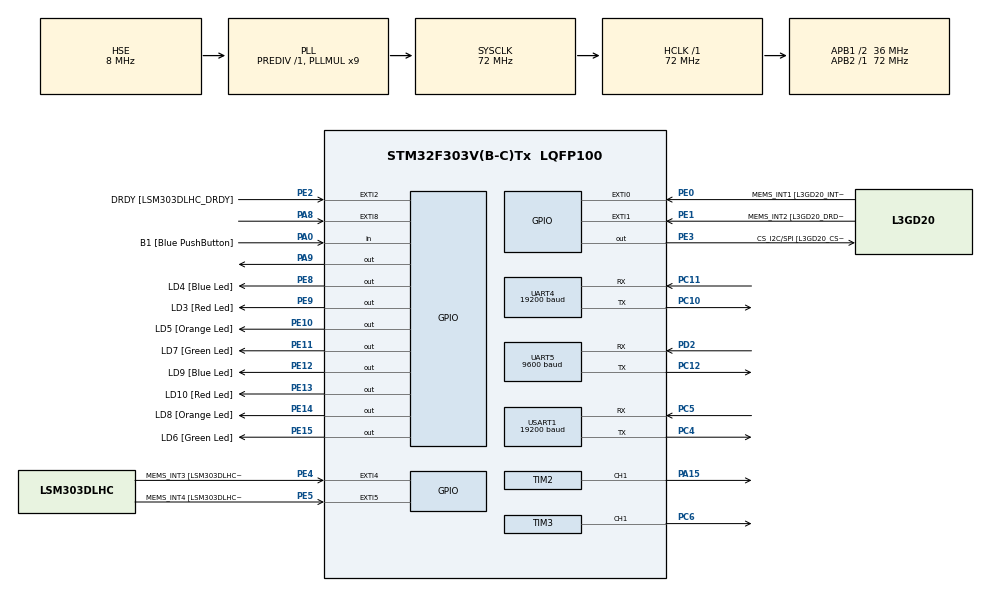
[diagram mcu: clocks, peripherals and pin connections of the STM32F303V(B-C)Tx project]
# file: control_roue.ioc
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Mcu.Family=STM32F3
Mcu.Name=STM32F303V(B-C)Tx
Mcu.Package=LQFP100
NVIC.EXTI9_5_IRQn=true\:0\:0\:true\:false\:true\:true\:true
NVIC.PriorityGroup=NVIC_PRIORITYGROUP_0
NVIC.TIM4_IRQn=true\:0\:0\:false\:false\:true\:true\:true
NVIC.UART4_IRQn=true\:0\:0\:false\:false\:true\:true\:true
NVIC.UART5_IRQn=true\:0\:0\:false\:false\:true\:true\:true
NVIC.USART1_IRQn=true\:0\:0\:false\:false\:true\:true\:true
PA0.GPIO_Label=B1 [Blue PushButton]
PA0.GPIO_Mode=GPIO_MODE_INPUT
PA0.GPIO_PuPd=GPIO_NOPULL
PA0.Signal=GPIO_Input
PA11.GPIO_Label=DM
PA11.Signal=USB_DM
PA12.GPIO_Label=DP
PA12.Signal=USB_DP
PA13.GPIO_Label=SWDIO
PA13.Mode=Trace_Asynchronous_SW
PA13.Signal=SYS_JTMS-SWDIO
PA14.GPIO_Label=SWCLK
PA14.Mode=Trace_Asynchronous_SW
PA14.Signal=SYS_JTCK-SWCLK
PA15.Signal=S_TIM2_CH1_ETR
PA5.GPIO_Label=SPI1_SCK [L3GD20_SCL/SPC]
PA5.GPIO_Mode=GPIO_MODE_AF_PP
PA5.GPIO_PuPd=GPIO_NOPULL
PA5.GPIO_Speed=GPIO_SPEED_FREQ_LOW
PA5.Signal=SPI1_SCK
PA6.GPIO_Label=SPI1_MISO [L3GD20_SA0/SDO]
PA6.GPIO_Mode=GPIO_MODE_AF_PP
PA6.GPIO_PuPd=GPIO_NOPULL
PA6.GPIO_Speed=GPIO_SPEED_FREQ_LOW
PA6.Signal=SPI1_MISO
PA7.GPIO_Label=SPI1_MISO [L3GD20_SDA/SDI/SDO]
PA7.GPIO_Mode=GPIO_MODE_AF_PP
PA7.GPIO_PuPd=GPIO_NOPULL
PA7.GPIO_Speed=GPIO_SPEED_FREQ_LOW
PA7.Signal=SPI1_MOSI
PA8.GPIO_ModeDefaultEXTI=GPIO_MODE_IT_RISING_FALLING
PA8.Signal=GPXTI8
PA9.Signal=GPIO_Output
PB3.GPIO_Label=SWO
PB3.Mode=Trace_Asynchronous_SW
PB3.Signal=SYS_JTDO-TRACESWO
PB6.GPIO_FM6=__NULL
PB6.GPIO_Label=I2C1_SCL [LSM303DLHC_SCL]
PB6.GPIO_Mode=GPIO_MODE_AF_OD
PB6.GPIO_PuPd=GPIO_NOPULL
PB6.GPIO_Speed=GPIO_SPEED_FREQ_LOW
PB6.Signal=I2C1_SCL
PB7.GPIO_FM7=__NULL
PB7.GPIO_Label=I2C1_SDA [LSM303DLHC_SDA]
PB7.GPIO_Mode=GPIO_MODE_AF_OD
PB7.GPIO_PuPd=GPIO_NOPULL
PB7.GPIO_Speed=GPIO_SPEED_FREQ_LOW
PB7.Signal=I2C1_SDA
PC10.GPIO_ModeDefaultPP=GPIO_MODE_AF_OD
PC10.Mode=Asynchronous
PC10.Signal=UART4_TX
PC11.Mode=Asynchronous
PC11.Signal=UART4_RX
PC12.Mode=Asynchronous
PC12.Signal=UART5_TX
PC14-OSC32_IN.GPIO_Label=OSC32_IN
PC14-OSC32_IN.Signal=RCC_OSC32_IN
PC15-OSC32_OUT.GPIO_Label=OSC32_OUT
PC15-OSC32_OUT.Signal=RCC_OSC32_OUT
PC4.Mode=Asynchronous
PC4.Signal=USART1_TX
PC5.Mode=Asynchronous
PC5.Signal=USART1_RX
PC6.Signal=S_TIM3_CH1
PD2.Mode=Asynchronous
PD2.Signal=UART5_RX
PE0.GPIO_Label=MEMS_INT1 [L3GD20_INT1]
PE0.GPIO_ModeDefaultEXTI=GPIO_MODE_EVT_RISING
PE0.GPIO_PuPd=GPIO_NOPULL
PE0.Signal=GPXTI0
PE1.GPIO_Label=MEMS_INT2 [L3GD20_DRDY/INT2]
PE1.GPIO_ModeDefaultEXTI=GPIO_MODE_EVT_RISING
PE1.GPIO_PuPd=GPIO_NOPULL
PE1.Signal=GPXTI1
PE10.GPIO_Label=LD5 [Orange Led]
PE10.GPIO_ModeDefaultOutputPP=GPIO_MODE_OUTPUT_PP
PE10.GPIO_PuPd=GPIO_NOPULL
PE10.GPIO_Speed=GPIO_SPEED_FREQ_LOW
PE10.Signal=GPIO_Output
PE11.GPIO_Label=LD7 [Green Led]
PE11.GPIO_ModeDefaultOutputPP=GPIO_MODE_OUTPUT_PP
PE11.GPIO_PuPd=GPIO_NOPULL
PE11.GPIO_Speed=GPIO_SPEED_FREQ_LOW
PE11.Signal=GPIO_Output
PE12.GPIO_Label=LD9 [Blue Led]
PE12.GPIO_ModeDefaultOutputPP=GPIO_MODE_OUTPUT_PP
PE12.GPIO_PuPd=GPIO_NOPULL
PE12.GPIO_Speed=GPIO_SPEED_FREQ_LOW
PE12.Signal=GPIO_Output
PE13.GPIO_Label=LD10 [Red Led]
PE13.GPIO_ModeDefaultOutputPP=GPIO_MODE_OUTPUT_PP
PE13.GPIO_PuPd=GPIO_NOPULL
PE13.GPIO_Speed=GPIO_SPEED_FREQ_LOW
PE13.Signal=GPIO_Output
PE14.GPIO_Label=LD8 [Orange Led]
PE14.GPIO_ModeDefaultOutputPP=GPIO_MODE_OUTPUT_PP
PE14.GPIO_PuPd=GPIO_NOPULL
PE14.GPIO_Speed=GPIO_SPEED_FREQ_LOW
PE14.Signal=GPIO_Output
PE15.GPIO_Label=LD6 [Green Led]
PE15.GPIO_ModeDefaultOutputPP=GPIO_MODE_OUTPUT_PP
PE15.GPIO_PuPd=GPIO_NOPULL
PE15.GPIO_Speed=GPIO_SPEED_FREQ_LOW
PE15.Signal=GPIO_Output
PE2.GPIO_Label=DRDY [LSM303DLHC_DRDY]
PE2.GPIO_ModeDefaultEXTI=GPIO_MODE_EVT_RISING
PE2.GPIO_PuPd=GPIO_NOPULL
PE2.Signal=GPXTI2
PE3.GPIO_Label=CS_I2C/SPI [L3GD20_CS_I2C/SPI]
PE3.GPIO_ModeDefaultOutputPP=GPIO_MODE_OUTPUT_PP
PE3.GPIO_PuPd=GPIO_NOPULL
PE3.GPIO_Speed=GPIO_SPEED_FREQ_LOW
PE3.Signal=GPIO_Output
PE4.GPIO_Label=MEMS_INT3 [LSM303DLHC_INT1]
PE4.GPIO_ModeDefaultEXTI=GPIO_MODE_EVT_RISING
PE4.GPIO_PuPd=GPIO_NOPULL
PE4.Signal=GPXTI4
PE5.GPIO_Label=MEMS_INT4 [LSM303DLHC_INT2]
PE5.GPIO_ModeDefaultEXTI=GPIO_MODE_EVT_RISING
PE5.GPIO_PuPd=GPIO_NOPULL
PE5.Signal=GPXTI5
PE8.GPIO_Label=LD4 [Blue Led]
PE8.GPIO_ModeDefaultOutputPP=GPIO_MODE_OUTPUT_PP
PE8.GPIO_PuPd=GPIO_NOPULL
PE8.GPIO_Speed=GPIO_SPEED_FREQ_LOW
PE8.Signal=GPIO_Output
PE9.GPIO_Label=LD3 [Red Led]
PE9.GPIO_ModeDefaultOutputPP=GPIO_MODE_OUTPUT_PP
PE9.GPIO_PuPd=GPIO_NOPULL
PE9.GPIO_Speed=GPIO_SPEED_FREQ_LOW
PE9.Signal=GPIO_Output
PF0-OSC_IN.GPIO_Label=OSC_IN
PF0-OSC_IN.Mode=HSE-External-Oscillator
PF0-OSC_IN.Signal=RCC_OSC_IN
PF1-OSC_OUT.GPIO_Label=OSC_OUT
PF1-OSC_OUT.Mode=HSE-External-Oscillator
PF1-OSC_OUT.Signal=RCC_OSC_OUT
ProjectManager.HeapSize=0x200
ProjectManager.StackSize=0x400
ProjectManager.TargetToolchain=STM32CubeIDE
RCC.AHBFreq_Value=72000000
RCC.APB1CLKDivider=RCC_HCLK_DIV2
RCC.APB1Freq_Value=36000000
RCC.APB1TimFreq_Value=72000000
RCC.APB2Freq_Value=72000000
RCC.APB2TimFreq_Value=72000000
RCC.CortexFreq_Value=72000000
RCC.HCLKFreq_Value=72000000
RCC.HSE_VALUE=8000000
RCC.HSI_VALUE=8000000
RCC.LSE_VALUE=32768
RCC.PLLMUL=RCC_PLL_MUL9
RCC.PLLSourceVirtual=RCC_PLLSOURCE_HSE
RCC.SYSCLKFreq_VALUE=72000000
RCC.SYSCLKSourceVirtual=RCC_SYSCLKSOURCE_PLLCLK
RCC.USBFreq_Value=72000000
SH.S_TIM2_CH1_ETR.0=TIM2_CH1,PWM Generation1 CH1
SH.S_TIM3_CH1.0=TIM3_CH1,PWM Generation1 CH1
TIM1.Prescaler=71
TIM2.Channel-PWM\ Generation1\ CH1=TIM_CHANNEL_1
TIM2.Period=20000
TIM2.Prescaler=72-1
TIM3.Channel-PWM\ Generation1\ CH1=TIM_CHANNEL_1
TIM3.Period=999
TIM3.Prescaler=71
TIM4.Period=65535
TIM4.Prescaler=72-1
UART4.BaudRate=19200
UART4.OverrunDisableParam=UART_ADVFEATURE_OVERRUN_DISABLE
UART5.BaudRate=9600
UART5.OverrunDisableParam=UART_ADVFEATURE_OVERRUN_DISABLE
USART1.BaudRate=19200
USART1.OverrunDisableParam=ADVFEATURE_OVERRUN_DISABLE
USART1.VirtualMode-Asynchronous=VM_ASYNC
VP_TIM1_VS_ClockSourceINT.Mode=Internal
VP_TIM2_VS_ClockSourceINT.Mode=Internal
VP_TIM3_VS_ClockSourceINT.Mode=Internal
VP_TIM4_VS_ClockSourceINT.Mode=Internal
board=STM32F3DISCOVERY

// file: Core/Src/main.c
/* USER CODE BEGIN Header */
/**
  ******************************************************************************
  * @file           : main.c
  * @brief          : Main program body
  ******************************************************************************
  * @attention
  *
  * <h2><center>&copy; Copyright (c) 2022 STMicroelectronics.
  * All rights reserved.</center></h2>
  *
  * This software component is licensed by ST under BSD 3-Clause license,
  * the "License"; You may not use this file except in compliance with the
  * License. You may obtain a copy of the License at:
  *                        opensource.org/licenses/BSD-3-Clause
  *
  ******************************************************************************
  */
/* USER CODE END Header */
#include "main.h"

/* USER CODE BEGIN Includes */
#include <string.h>
#include <stdio.h>
#include <math.h>
/* USER CODE END Includes */

TIM_HandleTypeDef htim1;
TIM_HandleTypeDef htim2;
TIM_HandleTypeDef htim3;
TIM_HandleTypeDef htim4;

UART_HandleTypeDef huart4;
UART_HandleTypeDef huart5;
UART_HandleTypeDef huart1;

/* USER CODE BEGIN PV */
#define TRIG_PIN GPIO_PIN_9
#define TRIG_PORT GPIOA
#define ECHO_PIN GPIO_PIN_8
#define ECHO_PORT GPIOA
uint32_t pMillis;
uint32_t Value1 = 0;
uint32_t Value2 = 0;
volatile uint32_t toneVal = 0;

uint16_t Distance  = 40;  // cm
uint16_t compteur_dis = 0;
uint16_t moyenne_distance = 40;
uint16_t som = 0;

uint8_t Receive_IHM[20];
uint8_t Receive_reel[20];
uint8_t Receive_hash[20];
uint8_t Receive_IHM2[8];
uint8_t Receive_IHM3[20];
uint8_t Receive_reel2[20];
uint8_t Receive_reel3[20];
uint8_t Receive_rayon[20];
uint8_t moy_distance[10];
char param[8];

int regard_droite;
int regard_gauche;
uint16_t Distance_obstacle_gauche  = 0;
uint16_t Distance_obstacle_droite  = 0;

int taille;
int test;
int start = 0;
int i=0;
int servo=0;
int detect=0;
int obstacle_detecte=0;

/* USER CODE END PV */

void SystemClock_Config(void);
static void MX_GPIO_Init(void);
static void MX_UART4_Init(void);
static void MX_TIM2_Init(void);
static void MX_TIM1_Init(void);
static void MX_UART5_Init(void);
static void MX_TIM4_Init(void);
static void MX_TIM3_Init(void);
static void MX_USART1_UART_Init(void);

/* USER CODE BEGIN 0 */

void HAL_GPIO_EXTI_Callback( uint16_t GPIO_Pin)
{

	if (GPIO_Pin == GPIO_PIN_8){
		if((HAL_GPIO_ReadPin (ECHO_PORT, ECHO_PIN))){

			Value1 = __HAL_TIM_GET_COUNTER (&htim1);
		}
		if (!(HAL_GPIO_ReadPin (ECHO_PORT, ECHO_PIN))){
			Value2 = __HAL_TIM_GET_COUNTER (&htim1);

			Distance = (Value2-Value1)* 0.034/2;

			if (detect == 0){
			detect = 1;
			}
		}
	}
}

void slice_str(const char * str, char * buffer, size_t start, size_t end)
{
    size_t j = 0;
    for ( size_t i = start; i <= end; ++i ) {
        buffer[j++] = str[i];
    }
    buffer[j] = 0;
}

void HAL_UART_RxCpltCallback(UART_HandleTypeDef *huart){
	if (obstacle_detecte == 0){
		if (start ==1){
			if (strlen((char *)Receive_IHM2)!=0){
				if (strncmp((char *) Receive_IHM2,"F@",1)==0){
							strcpy((char *)Receive_reel2,"mogo 1:5 2:5\r");
						}
				if (strncmp((char *) Receive_IHM2,"S@",1)==0){
							strcpy((char *)Receive_reel2,"stop\r");
						}
				if (strncmp((char *) Receive_IHM2,"R@",1)==0){
							strcpy((char *)Receive_reel2,"mogo 1:10 2:0\r");
						}
				if (strncmp((char *) Receive_IHM2,"L@",1)==0){
							strcpy((char *)Receive_reel2,"mogo 2:10 1:0\r");
						}

				if ((strncmp((char *) Receive_IHM2,"L@",1)!=0) && (strncmp((char *) Receive_IHM2,"S@",1)!=0)  && (strncmp((char *) Receive_IHM2,"R@",1)!=0)  && (strncmp((char *) Receive_IHM2,"F@",1)!=0 )){
					strcpy((char *)Receive_hash,(char *)Receive_IHM2);
					HAL_UART_Transmit(&huart4,Receive_hash,strlen((char *)Receive_hash),100);// Sending in normal mode

				}

				HAL_UART_Transmit(&huart4,Receive_reel2,strlen((char *)Receive_reel2),100);// Sending in normal mode
				HAL_UART_Receive_IT(&huart5, Receive_IHM2, 8);// Sending in normal mode
			}
		}
    if (start ==0){
      if (strlen((char *)Receive_IHM3)!=0){
        uint8_t resTransmit[] = "command false";
        if (strncmp((char *) Receive_IHM3,"start@",5)==0){
          uint8_t resTransmit[] = "article#c366ef9e";
          strcpy((char *)Receive_reel3,(char *)resTransmit);
          start = 1;
          HAL_UART_Transmit(&huart1,Receive_reel3,strlen((char *)Receive_reel3),100);// Sending in normal mode
          HAL_UART_Receive_IT(&huart1, Receive_IHM3, 20);// Sending in normal mode

        }
      }
    }
	}
	if (obstacle_detecte==2){
		if (strlen((char *)Receive_IHM2)!=0){
			if (strcmp((char *) Receive_IHM2,"S")==0){
				strcpy((char *)Receive_reel2,"mogo 1:10 2:-10\r");
			}
			obstacle_detecte = 0 ;

			HAL_UART_Transmit(&huart4,Receive_reel2,strlen((char *)Receive_reel2),100);// Sending in normal mode
			HAL_UART_Receive_IT(&huart5, Receive_IHM2, 8);// Sending in normal mode
	  }
  }
}

void HAL_TIM_PeriodElapsedCallback(TIM_HandleTypeDef* htim)
{
	HAL_GPIO_WritePin(TRIG_PORT, TRIG_PIN, GPIO_PIN_SET);  // pull the TRIG pin HIGH
	__HAL_TIM_SET_COUNTER(&htim1, 0);
	while (__HAL_TIM_GET_COUNTER (&htim1) < 10);  // wait for 10 us
	HAL_GPIO_WritePin(TRIG_PORT, TRIG_PIN, GPIO_PIN_RESET);  // pull the TRIG pin low

}

void alarme(void){

	for (float i=0.000; i<=100; i+=0.03) {
		 toneVal = (uint32_t) (999 + ( 60 * sin (0.3 * i)));
		 htim3.Instance->CCR1 = toneVal;
		 HAL_Delay(1);
	 }
	htim3.Instance->CCR1 =0;

}

void servomoteur(void){

		htim2.Instance->CCR1=500;
		HAL_Delay(1500);
		/*appelle fonction distance pour calculer la distance*/
		Distance_obstacle_gauche=Distance;

		/*htim2.Instance->CCR1=1500;
		HAL_Delay(2000);*/
		htim2.Instance->CCR1=2500;
		HAL_Delay(1500);
		/*appelle fonction distance pour calculer la distance*/
		Distance_obstacle_droite=Distance;

}

void contournement(void){

	if (Distance_obstacle_gauche < Distance_obstacle_droite ){
		uint8_t rotation_G[] = "digo 2:1000:10\r"; //Data to send
		HAL_UART_Transmit(&huart4,rotation_G,strlen((char *)rotation_G),500);// Sending in normal mode

		htim2.Instance->CCR1=500;
		HAL_Delay(3000);

		while (Distance<35){
			uint8_t tout_droit[] = "mogo 1:10 2:10\r"; //Data to send
			HAL_UART_Transmit(&huart4,tout_droit,strlen((char *)tout_droit),100);// Sending in normal mode
		}
		HAL_Delay(100);
		uint8_t test2[] = "stop\r"; //Data to send
		HAL_UART_Transmit(&huart4,test2,strlen((char *)test2),100);// Sending in normal mode
		HAL_Delay(100);

		uint8_t rotation_d[] = "digo 1:1000:10\r"; //Data to send
		HAL_UART_Transmit(&huart4,rotation_d,strlen((char *)rotation_d),100);// Sending in normal mode
		HAL_Delay(3000);
		uint8_t tout_droit[] = "mogo 1:10 2:10\r"; //Data to send
		HAL_UART_Transmit(&huart4,tout_droit,strlen((char *)tout_droit),100);// Sending in normal mode
		HAL_Delay(1000);

		while (Distance<35){
			uint8_t tout_droit[] = "mogo 1:10 2:10\r"; //Data to send
			HAL_UART_Transmit(&huart4,tout_droit,strlen((char *)tout_droit),100);// Sending in normal mode
		}
		HAL_Delay(100);

		uint8_t test3[] = "stop\r"; //Data to send
		HAL_UART_Transmit(&huart4,test3,strlen((char *)test3),100);// Sending in normal mode
		HAL_Delay(100);

		uint8_t rotation_d2[] = "digo 1:1000:10\r"; //Data to send
		HAL_UART_Transmit(&huart4,rotation_d2,strlen((char *)rotation_d2),100);// Sending in normal mode
		HAL_Delay(3000);
		obstacle_detecte=2;
		uint8_t tout_droit2[] = "mogo 1:5 2:5\r"; //Data to send
		HAL_UART_Transmit(&huart4,tout_droit2,strlen((char *)tout_droit2),100);// Sending in normal mode
		htim2.Instance->CCR1=1500;

		return ;

	}
	if (Distance_obstacle_droite < Distance_obstacle_gauche ){
		uint8_t rotation_G[] = "digo 1:1000:10\r"; //Data to send
				HAL_UART_Transmit(&huart4,rotation_G,strlen((char *)rotation_G),500);// Sending in normal mode

				htim2.Instance->CCR1=500;
				HAL_Delay(3000);
		while (Distance<35){
			uint8_t tout_droit[] = "mogo 1:10 2:10\r"; //Data to send
			HAL_UART_Transmit(&huart4,tout_droit,strlen((char *)tout_droit),100);// Sending in normal mode
		}

		HAL_Delay(100);
		uint8_t test4[] = "stop\r"; //Data to send
		HAL_UART_Transmit(&huart4,test4,strlen((char *)test4),100);// Sending in normal mode
		HAL_Delay(100);

		uint8_t rotation_d[] = "digo 2:1000:10\r"; //Data to send
		HAL_UART_Transmit(&huart4,rotation_d,strlen((char *)rotation_d),100);// Sending in normal mode
		HAL_Delay(3000);
		uint8_t tout_droit1[] = "mogo 1:10 2:10\r"; //Data to send
		HAL_UART_Transmit(&huart4,tout_droit1,strlen((char *)tout_droit1),100);// Sending in normal mode
		HAL_Delay(1000);

		while (Distance<35){
			uint8_t tout_droit[] = "mogo 1:10 2:10\r"; //Data to send
			HAL_UART_Transmit(&huart4,tout_droit,strlen((char *)tout_droit),100);// Sending in normal mode
		}
		HAL_Delay(100);
		uint8_t test5[] = "stop\r"; //Data to send
		HAL_UART_Transmit(&huart4,test5,strlen((char *)test5),100);// Sending in normal mode
		HAL_Delay(100);

		uint8_t rotation_d2[] = "digo 2:1000:10\r"; //Data to send
		HAL_UART_Transmit(&huart4,rotation_d2,strlen((char *)rotation_d2),100);// Sending in normal mode
		HAL_Delay(3000);

		obstacle_detecte=2;
		HAL_Delay(100);
		uint8_t tout_droit4[] = "mogo 1:5 2:5\r"; //Data to send
		HAL_UART_Transmit(&huart4,tout_droit4,strlen((char *)tout_droit4),100);// Sending in normal mode
		HAL_Delay(100);
		htim2.Instance->CCR1=1500;
		return ;
	}
}

/* USER CODE END 0 */

int main(void)
{

  /* MCU Configuration--------------------------------------------------------*/

  /* Reset of all peripherals, Initializes the Flash interface and the Systick. */
  HAL_Init();

  /* Configure the system clock */
  SystemClock_Config();

  /* Initialize all configured peripherals */
  MX_GPIO_Init();
  MX_UART4_Init();
  MX_TIM2_Init();
  MX_TIM1_Init();
  MX_UART5_Init();
  MX_TIM4_Init();
  MX_TIM3_Init();
  MX_USART1_UART_Init();
  /* USER CODE BEGIN 2 */
  HAL_TIM_PWM_Start(&htim2,TIM_CHANNEL_1);
  HAL_TIM_PWM_Start(&htim3,TIM_CHANNEL_1);
  HAL_TIM_Base_Start(&htim1);

  HAL_GPIO_WritePin(TRIG_PORT, TRIG_PIN, GPIO_PIN_RESET);  // pull the TRIG pin low
  HAL_TIM_Base_Start_IT(&htim4);
  /* USER CODE END 2 */

  /* Infinite loop */
  /* USER CODE BEGIN WHILE */
  HAL_UART_Receive_IT(&huart4, Receive_IHM, 20);
  HAL_UART_Receive_IT(&huart5, Receive_IHM2, 8);
  HAL_UART_Receive_IT(&huart1, Receive_IHM3, 20);
 /* htim2.Instance->CCR1=1500;*/

   while (1)
	  {

	 /*  HAL_Delay(500);*/

		if (Distance <35){
			obstacle_detecte = 1;
			HAL_Delay(100);
			uint8_t Test[] = "stop\r"; //Data to send
			HAL_UART_Transmit(&huart4,Test,strlen((char *)Test),100);// Sending in normal mode
			HAL_Delay(100);
			alarme();

		   if ((Distance <35) && (detect == 1)){
				//   obstacle_detecte = 1;
					detect = 2;
					servomoteur();
					contournement();
			   }
		}
		obstacle_detecte = 0;

    /* USER CODE END WHILE */

  }
}

void SystemClock_Config(void)
{
  RCC_OscInitTypeDef RCC_OscInitStruct = {0};
  RCC_ClkInitTypeDef RCC_ClkInitStruct = {0};
  RCC_PeriphCLKInitTypeDef PeriphClkInit = {0};

  /** Initializes the RCC Oscillators according to the specified parameters
  * in the RCC_OscInitTypeDef structure.
  */
  RCC_OscInitStruct.OscillatorType = RCC_OSCILLATORTYPE_HSE;
  RCC_OscInitStruct.HSEState = RCC_HSE_ON;
  RCC_OscInitStruct.HSEPredivValue = RCC_HSE_PREDIV_DIV1;
  RCC_OscInitStruct.HSIState = RCC_HSI_ON;
  RCC_OscInitStruct.PLL.PLLState = RCC_PLL_ON;
  RCC_OscInitStruct.PLL.PLLSource = RCC_PLLSOURCE_HSE;
  RCC_OscInitStruct.PLL.PLLMUL = RCC_PLL_MUL9;
  if (HAL_RCC_OscConfig(&RCC_OscInitStruct) != HAL_OK)
  {
    Error_Handler();
  }
  /** Initializes the CPU, AHB and APB buses clocks
  */
  RCC_ClkInitStruct.ClockType = RCC_CLOCKTYPE_HCLK|RCC_CLOCKTYPE_SYSCLK
                              |RCC_CLOCKTYPE_PCLK1|RCC_CLOCKTYPE_PCLK2;
  RCC_ClkInitStruct.SYSCLKSource = RCC_SYSCLKSOURCE_PLLCLK;
  RCC_ClkInitStruct.AHBCLKDivider = RCC_SYSCLK_DIV1;
  RCC_ClkInitStruct.APB1CLKDivider = RCC_HCLK_DIV2;
  RCC_ClkInitStruct.APB2CLKDivider = RCC_HCLK_DIV1;

  if (HAL_RCC_ClockConfig(&RCC_ClkInitStruct, FLASH_LATENCY_2) != HAL_OK)
  {
    Error_Handler();
  }
  PeriphClkInit.PeriphClockSelection = RCC_PERIPHCLK_USART1|RCC_PERIPHCLK_UART4
                              |RCC_PERIPHCLK_UART5|RCC_PERIPHCLK_TIM1;
  PeriphClkInit.Usart1ClockSelection = RCC_USART1CLKSOURCE_PCLK2;
  PeriphClkInit.Uart4ClockSelection = RCC_UART4CLKSOURCE_PCLK1;
  PeriphClkInit.Uart5ClockSelection = RCC_UART5CLKSOURCE_PCLK1;
  PeriphClkInit.Tim1ClockSelection = RCC_TIM1CLK_HCLK;
  if (HAL_RCCEx_PeriphCLKConfig(&PeriphClkInit) != HAL_OK)
  {
    Error_Handler();
  }
}

static void MX_TIM1_Init(void)
{

  TIM_ClockConfigTypeDef sClockSourceConfig = {0};
  TIM_MasterConfigTypeDef sMasterConfig = {0};

  htim1.Instance = TIM1;
  htim1.Init.Prescaler = 71;
  htim1.Init.CounterMode = TIM_COUNTERMODE_UP;
  htim1.Init.Period = 65535;
  htim1.Init.ClockDivision = TIM_CLOCKDIVISION_DIV1;
  htim1.Init.RepetitionCounter = 0;
  htim1.Init.AutoReloadPreload = TIM_AUTORELOAD_PRELOAD_DISABLE;
  if (HAL_TIM_Base_Init(&htim1) != HAL_OK)
  {
    Error_Handler();
  }
  sClockSourceConfig.ClockSource = TIM_CLOCKSOURCE_INTERNAL;
  if (HAL_TIM_ConfigClockSource(&htim1, &sClockSourceConfig) != HAL_OK)
  {
    Error_Handler();
  }
  sMasterConfig.MasterOutputTrigger = TIM_TRGO_RESET;
  sMasterConfig.MasterOutputTrigger2 = TIM_TRGO2_RESET;
  sMasterConfig.MasterSlaveMode = TIM_MASTERSLAVEMODE_DISABLE;
  if (HAL_TIMEx_MasterConfigSynchronization(&htim1, &sMasterConfig) != HAL_OK)
  {
    Error_Handler();
  }

}

static void MX_TIM2_Init(void)
{

  TIM_ClockConfigTypeDef sClockSourceConfig = {0};
  TIM_MasterConfigTypeDef sMasterConfig = {0};
  TIM_OC_InitTypeDef sConfigOC = {0};

  htim2.Instance = TIM2;
  htim2.Init.Prescaler = 72-1;
  htim2.Init.CounterMode = TIM_COUNTERMODE_UP;
  htim2.Init.Period = 20000;
  htim2.Init.ClockDivision = TIM_CLOCKDIVISION_DIV1;
  htim2.Init.AutoReloadPreload = TIM_AUTORELOAD_PRELOAD_DISABLE;
  if (HAL_TIM_Base_Init(&htim2) != HAL_OK)
  {
    Error_Handler();
  }
  sClockSourceConfig.ClockSource = TIM_CLOCKSOURCE_INTERNAL;
  if (HAL_TIM_ConfigClockSource(&htim2, &sClockSourceConfig) != HAL_OK)
  {
    Error_Handler();
  }
  if (HAL_TIM_PWM_Init(&htim2) != HAL_OK)
  {
    Error_Handler();
  }
  sMasterConfig.MasterOutputTrigger = TIM_TRGO_RESET;
  sMasterConfig.MasterSlaveMode = TIM_MASTERSLAVEMODE_DISABLE;
  if (HAL_TIMEx_MasterConfigSynchronization(&htim2, &sMasterConfig) != HAL_OK)
  {
    Error_Handler();
  }
  sConfigOC.OCMode = TIM_OCMODE_PWM1;
  sConfigOC.Pulse = 0;
  sConfigOC.OCPolarity = TIM_OCPOLARITY_HIGH;
  sConfigOC.OCFastMode = TIM_OCFAST_DISABLE;
  if (HAL_TIM_PWM_ConfigChannel(&htim2, &sConfigOC, TIM_CHANNEL_1) != HAL_OK)
  {
    Error_Handler();
  }
  HAL_TIM_MspPostInit(&htim2);

}

static void MX_TIM3_Init(void)
{

  TIM_ClockConfigTypeDef sClockSourceConfig = {0};
  TIM_MasterConfigTypeDef sMasterConfig = {0};
  TIM_OC_InitTypeDef sConfigOC = {0};

  htim3.Instance = TIM3;
  htim3.Init.Prescaler = 71;
  htim3.Init.CounterMode = TIM_COUNTERMODE_UP;
  htim3.Init.Period = 999;
  htim3.Init.ClockDivision = TIM_CLOCKDIVISION_DIV1;
  htim3.Init.AutoReloadPreload = TIM_AUTORELOAD_PRELOAD_DISABLE;
  if (HAL_TIM_Base_Init(&htim3) != HAL_OK)
  {
    Error_Handler();
  }
  sClockSourceConfig.ClockSource = TIM_CLOCKSOURCE_INTERNAL;
  if (HAL_TIM_ConfigClockSource(&htim3, &sClockSourceConfig) != HAL_OK)
  {
    Error_Handler();
  }
  if (HAL_TIM_PWM_Init(&htim3) != HAL_OK)
  {
    Error_Handler();
  }
  sMasterConfig.MasterOutputTrigger = TIM_TRGO_RESET;
  sMasterConfig.MasterSlaveMode = TIM_MASTERSLAVEMODE_DISABLE;
  if (HAL_TIMEx_MasterConfigSynchronization(&htim3, &sMasterConfig) != HAL_OK)
  {
    Error_Handler();
  }
  sConfigOC.OCMode = TIM_OCMODE_PWM1;
  sConfigOC.Pulse = 0;
  sConfigOC.OCPolarity = TIM_OCPOLARITY_HIGH;
  sConfigOC.OCFastMode = TIM_OCFAST_DISABLE;
  if (HAL_TIM_PWM_ConfigChannel(&htim3, &sConfigOC, TIM_CHANNEL_1) != HAL_OK)
  {
    Error_Handler();
  }
  HAL_TIM_MspPostInit(&htim3);

}

static void MX_TIM4_Init(void)
{

  TIM_ClockConfigTypeDef sClockSourceConfig = {0};
  TIM_MasterConfigTypeDef sMasterConfig = {0};

  htim4.Instance = TIM4;
  htim4.Init.Prescaler = 72-1;
  htim4.Init.CounterMode = TIM_COUNTERMODE_UP;
  htim4.Init.Period = 65535;
  htim4.Init.ClockDivision = TIM_CLOCKDIVISION_DIV1;
  htim4.Init.AutoReloadPreload = TIM_AUTORELOAD_PRELOAD_DISABLE;
  if (HAL_TIM_Base_Init(&htim4) != HAL_OK)
  {
    Error_Handler();
  }
  sClockSourceConfig.ClockSource = TIM_CLOCKSOURCE_INTERNAL;
  if (HAL_TIM_ConfigClockSource(&htim4, &sClockSourceConfig) != HAL_OK)
  {
    Error_Handler();
  }
  sMasterConfig.MasterOutputTrigger = TIM_TRGO_RESET;
  sMasterConfig.MasterSlaveMode = TIM_MASTERSLAVEMODE_DISABLE;
  if (HAL_TIMEx_MasterConfigSynchronization(&htim4, &sMasterConfig) != HAL_OK)
  {
    Error_Handler();
  }

}

static void MX_UART4_Init(void)
{

  huart4.Instance = UART4;
  huart4.Init.BaudRate = 19200;
  huart4.Init.WordLength = UART_WORDLENGTH_8B;
  huart4.Init.StopBits = UART_STOPBITS_1;
  huart4.Init.Parity = UART_PARITY_NONE;
  huart4.Init.Mode = UART_MODE_TX_RX;
  huart4.Init.HwFlowCtl = UART_HWCONTROL_NONE;
  huart4.Init.OverSampling = UART_OVERSAMPLING_16;
  huart4.Init.OneBitSampling = UART_ONE_BIT_SAMPLE_DISABLE;
  huart4.AdvancedInit.AdvFeatureInit = UART_ADVFEATURE_RXOVERRUNDISABLE_INIT;
  huart4.AdvancedInit.OverrunDisable = UART_ADVFEATURE_OVERRUN_DISABLE;
  if (HAL_UART_Init(&huart4) != HAL_OK)
  {
    Error_Handler();
  }

}

static void MX_UART5_Init(void)
{

  huart5.Instance = UART5;
  huart5.Init.BaudRate = 9600;
  huart5.Init.WordLength = UART_WORDLENGTH_8B;
  huart5.Init.StopBits = UART_STOPBITS_1;
  huart5.Init.Parity = UART_PARITY_NONE;
  huart5.Init.Mode = UART_MODE_TX_RX;
  huart5.Init.HwFlowCtl = UART_HWCONTROL_NONE;
  huart5.Init.OverSampling = UART_OVERSAMPLING_16;
  huart5.Init.OneBitSampling = UART_ONE_BIT_SAMPLE_DISABLE;
  huart5.AdvancedInit.AdvFeatureInit = UART_ADVFEATURE_RXOVERRUNDISABLE_INIT;
  huart5.AdvancedInit.OverrunDisable = UART_ADVFEATURE_OVERRUN_DISABLE;
  if (HAL_UART_Init(&huart5) != HAL_OK)
  {
    Error_Handler();
  }

}

static void MX_USART1_UART_Init(void)
{

  huart1.Instance = USART1;
  huart1.Init.BaudRate = 19200;
  huart1.Init.WordLength = UART_WORDLENGTH_8B;
  huart1.Init.StopBits = UART_STOPBITS_1;
  huart1.Init.Parity = UART_PARITY_NONE;
  huart1.Init.Mode = UART_MODE_TX_RX;
  huart1.Init.HwFlowCtl = UART_HWCONTROL_NONE;
  huart1.Init.OverSampling = UART_OVERSAMPLING_16;
  huart1.Init.OneBitSampling = UART_ONE_BIT_SAMPLE_DISABLE;
  huart1.AdvancedInit.AdvFeatureInit = UART_ADVFEATURE_RXOVERRUNDISABLE_INIT;
  huart1.AdvancedInit.OverrunDisable = UART_ADVFEATURE_OVERRUN_DISABLE;
  if (HAL_UART_Init(&huart1) != HAL_OK)
  {
    Error_Handler();
  }

}

static void MX_GPIO_Init(void)
{
  GPIO_InitTypeDef GPIO_InitStruct = {0};

  /* GPIO Ports Clock Enable */
  __HAL_RCC_GPIOE_CLK_ENABLE();
  __HAL_RCC_GPIOC_CLK_ENABLE();
  __HAL_RCC_GPIOF_CLK_ENABLE();
  __HAL_RCC_GPIOA_CLK_ENABLE();
  __HAL_RCC_GPIOD_CLK_ENABLE();
  __HAL_RCC_GPIOB_CLK_ENABLE();

  /*Configure GPIO pin Output Level */
  HAL_GPIO_WritePin(GPIOE, CS_I2C_SPI_Pin|LD4_Pin|LD3_Pin|LD5_Pin
                          |LD7_Pin|LD9_Pin|LD10_Pin|LD8_Pin
                          |LD6_Pin, GPIO_PIN_RESET);

  /*Configure GPIO pin Output Level */
  HAL_GPIO_WritePin(GPIOA, GPIO_PIN_9, GPIO_PIN_RESET);

  /*Configure GPIO pins : DRDY_Pin MEMS_INT3_Pin MEMS_INT4_Pin MEMS_INT1_Pin
                           MEMS_INT2_Pin */
  GPIO_InitStruct.Pin = DRDY_Pin|MEMS_INT3_Pin|MEMS_INT4_Pin|MEMS_INT1_Pin
                          |MEMS_INT2_Pin;
  GPIO_InitStruct.Mode = GPIO_MODE_EVT_RISING;
  GPIO_InitStruct.Pull = GPIO_NOPULL;
  HAL_GPIO_Init(GPIOE, &GPIO_InitStruct);

  /*Configure GPIO pins : CS_I2C_SPI_Pin LD4_Pin LD3_Pin LD5_Pin
                           LD7_Pin LD9_Pin LD10_Pin LD8_Pin
                           LD6_Pin */
  GPIO_InitStruct.Pin = CS_I2C_SPI_Pin|LD4_Pin|LD3_Pin|LD5_Pin
                          |LD7_Pin|LD9_Pin|LD10_Pin|LD8_Pin
                          |LD6_Pin;
  GPIO_InitStruct.Mode = GPIO_MODE_OUTPUT_PP;
  GPIO_InitStruct.Pull = GPIO_NOPULL;
  GPIO_InitStruct.Speed = GPIO_SPEED_FREQ_LOW;
  HAL_GPIO_Init(GPIOE, &GPIO_InitStruct);

  /*Configure GPIO pin : B1_Pin */
  GPIO_InitStruct.Pin = B1_Pin;
  GPIO_InitStruct.Mode = GPIO_MODE_INPUT;
  GPIO_InitStruct.Pull = GPIO_NOPULL;
  HAL_GPIO_Init(B1_GPIO_Port, &GPIO_InitStruct);

  /*Configure GPIO pins : SPI1_SCK_Pin SPI1_MISO_Pin SPI1_MISOA7_Pin */
  GPIO_InitStruct.Pin = SPI1_SCK_Pin|SPI1_MISO_Pin|SPI1_MISOA7_Pin;
  GPIO_InitStruct.Mode = GPIO_MODE_AF_PP;
  GPIO_InitStruct.Pull = GPIO_NOPULL;
  GPIO_InitStruct.Speed = GPIO_SPEED_FREQ_LOW;
  GPIO_InitStruct.Alternate = GPIO_AF5_SPI1;
  HAL_GPIO_Init(GPIOA, &GPIO_InitStruct);

  /*Configure GPIO pin : PA8 */
  GPIO_InitStruct.Pin = GPIO_PIN_8;
  GPIO_InitStruct.Mode = GPIO_MODE_IT_RISING_FALLING;
  GPIO_InitStruct.Pull = GPIO_NOPULL;
  HAL_GPIO_Init(GPIOA, &GPIO_InitStruct);

  /*Configure GPIO pin : PA9 */
  GPIO_InitStruct.Pin = GPIO_PIN_9;
  GPIO_InitStruct.Mode = GPIO_MODE_OUTPUT_PP;
  GPIO_InitStruct.Pull = GPIO_NOPULL;
  GPIO_InitStruct.Speed = GPIO_SPEED_FREQ_LOW;
  HAL_GPIO_Init(GPIOA, &GPIO_InitStruct);

  /*Configure GPIO pins : DM_Pin DP_Pin */
  GPIO_InitStruct.Pin = DM_Pin|DP_Pin;
  GPIO_InitStruct.Mode = GPIO_MODE_AF_PP;
  GPIO_InitStruct.Pull = GPIO_NOPULL;
  GPIO_InitStruct.Speed = GPIO_SPEED_FREQ_HIGH;
  GPIO_InitStruct.Alternate = GPIO_AF14_USB;
  HAL_GPIO_Init(GPIOA, &GPIO_InitStruct);

  /*Configure GPIO pins : I2C1_SCL_Pin I2C1_SDA_Pin */
  GPIO_InitStruct.Pin = I2C1_SCL_Pin|I2C1_SDA_Pin;
  GPIO_InitStruct.Mode = GPIO_MODE_AF_OD;
  GPIO_InitStruct.Pull = GPIO_PULLUP;
  GPIO_InitStruct.Speed = GPIO_SPEED_FREQ_LOW;
  GPIO_InitStruct.Alternate = GPIO_AF4_I2C1;
  HAL_GPIO_Init(GPIOB, &GPIO_InitStruct);

  /* EXTI interrupt init*/
  HAL_NVIC_SetPriority(EXTI9_5_IRQn, 0, 0);
  HAL_NVIC_EnableIRQ(EXTI9_5_IRQn);

}

void Error_Handler(void)
{
  __disable_irq();
  while (1)
  {
  }
}

/************************ (C) COPYRIGHT STMicroelectronics *****END OF FILE****/
